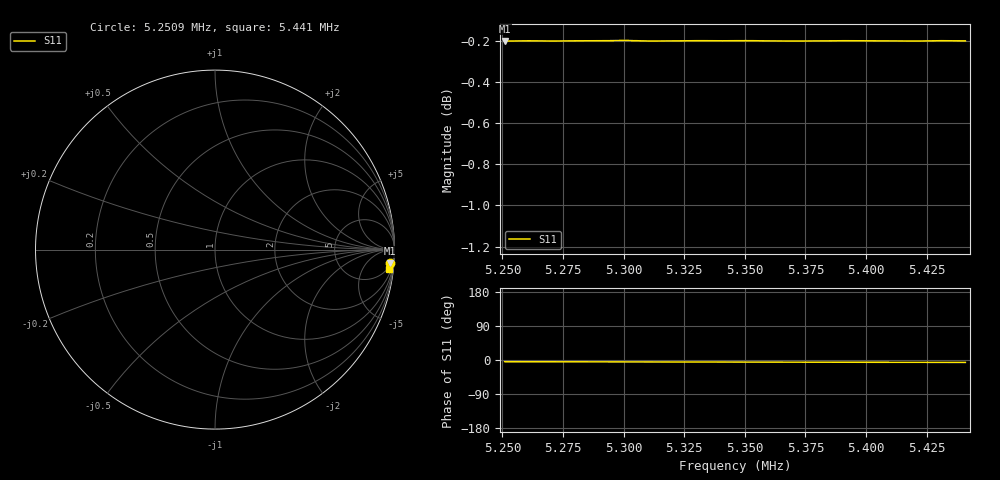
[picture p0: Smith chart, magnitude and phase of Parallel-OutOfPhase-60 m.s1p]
# HZ S RI R 50
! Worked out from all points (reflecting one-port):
!   20 points, 5.2509 MHz to 5.441 MHz, reference 50 ohm
!   lowest |S11| = -0.2 dB at 5.2509 MHz (marker M1), VSWR 86.47, Z = 349 - j1.18e+03 ohm
!   phase of S11 starts at -4 deg and turns -2 deg over the sweep
5250900  0.9742 -0.0763
5260904  0.9742 -0.0782
5270908  0.9739 -0.0799
5280912  0.9739 -0.0817
5290916  0.9738 -0.0834
5300920  0.9738 -0.0852
5310924  0.9733 -0.0868
5320928  0.9732 -0.0887
5330932  0.9732 -0.0904
5340936  0.9729 -0.0922
5350940  0.9729 -0.0939
5360944  0.9725 -0.0956
5370948  0.9723 -0.0972
5380952  0.9722 -0.0991
5390956  0.9721 -0.1009
5400960  0.9719 -0.1025
5410964  0.9717 -0.1043
5420968  0.9714 -0.1059
5430972  0.9714 -0.1077
5440976  0.9711 -0.1094
